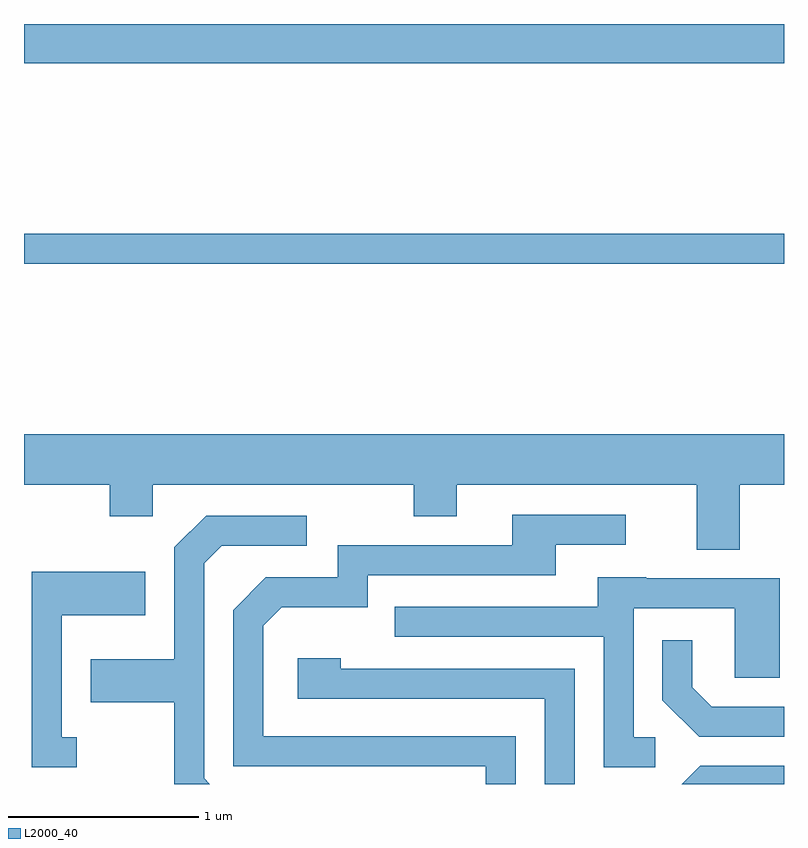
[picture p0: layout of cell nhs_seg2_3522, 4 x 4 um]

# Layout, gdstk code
import gdstk
lib = gdstk.Library(unit=1e-6, precision=1e-09)
def R(c, l, rs):  # rectangles x0, y0, x1, y1
    for r in rs: c.add(gdstk.rectangle(r[:2], r[2:], *l))
def P(c, l, *ps):  # polygons
    for p in ps: c.add(gdstk.Polygon(p, *l))
L2000_40 = (2000, 40)

nhs_seg2_3522 = lib.new_cell('nhs_seg2_3522')
R(nhs_seg2_3522, L2000_40, [(287.611,1100.541,291.611,1100.699), (287.611,1101.596,291.611,1101.802)])
P(nhs_seg2_3522, L2000_40, [(291.379,1099.376),(291.611,1099.376),(291.611,1099.644),(287.611,1099.644),(287.611,1099.376),(288.061,1099.376),(288.061,1099.211),(288.289,1099.211),(288.289,1099.376),(289.661,1099.376),(289.661,1099.211),(289.889,1099.211),(289.889,1099.376),(291.151,1099.376),(291.151,1099.036),(291.379,1099.036)],
  [(290.199,1098.054),(288.869,1098.054),(288.869,1098.634),(288.967,1098.731),(289.419,1098.731),(289.419,1098.901),(290.409,1098.901),(290.409,1099.061),(290.778,1099.061),(290.778,1099.219),(290.181,1099.219),(290.181,1099.059),(289.261,1099.059),(289.261,1098.889),(288.884,1098.889),(288.711,1098.717),(288.711,1097.896),(290.041,1097.896),(290.041,1097.802),(290.199,1097.802)],
  [(288.559,1097.832),(288.559,1098.964),(288.652,1099.056),(289.098,1099.056),(289.098,1099.214),(288.569,1099.214),(288.401,1099.047),(288.401,1098.459),(287.961,1098.459),(287.961,1098.231),(288.401,1098.231),(288.401,1097.802),(288.589,1097.802)],
  [(287.888,1098.049),(287.809,1098.049),(287.809,1098.691),(288.249,1098.691),(288.249,1098.919),(287.651,1098.919),(287.651,1097.891),(287.888,1097.891)],
  [(290.933,1098.049),(290.819,1098.049),(290.819,1098.726),(291.351,1098.726),(291.351,1098.361),(291.589,1098.361),(291.589,1098.884),(290.885,1098.884),(290.885,1098.889),(290.631,1098.889),(290.631,1098.734),(289.563,1098.734),(289.563,1098.576),(290.661,1098.576),(290.661,1097.891),(290.933,1097.891)],
  [(291.611,1098.209),(291.232,1098.209),(291.129,1098.312),(291.129,1098.558),(290.971,1098.558),(290.971,1098.244),(291.164,1098.051),(291.611,1098.051)],
  [(290.509,1098.409),(289.279,1098.409),(289.279,1098.464),(289.051,1098.464),(289.051,1098.251),(290.351,1098.251),(290.351,1097.802),(290.509,1097.802)],
  [(291.611,1097.899),(291.169,1097.899),(291.072,1097.802),(291.611,1097.802)])

lib.write_gds('nhs_seg2_3522.gds')
